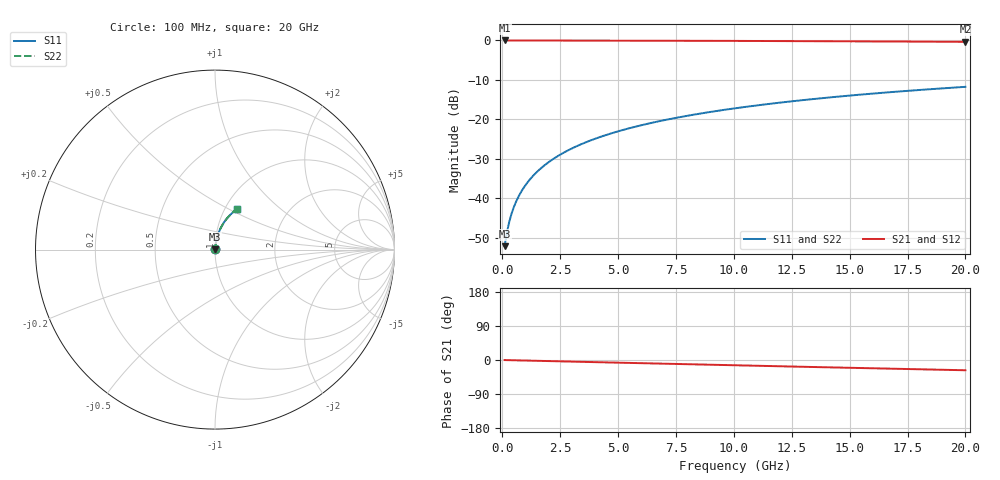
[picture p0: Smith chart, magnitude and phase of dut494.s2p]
! Touchstone file exported from HFSS 2026.1.0
!  File:  C:/ffzhzh/LocalFiles/Ansys_Project_Files/temp_train_BSMRDL_494_1783014077_55676.aedt
!  Generated:  01:42:44 AM Jul  3, 2026
!  Design:  BSMRDL
!  Project:  temp_train_BSMRDL_494_1783014077_55676
! Variables:
!  h_bsmrdl = 3.31um
!  h_ox = 20um
!  h_rdl = 5um
!  h_sub = 80um
!  h_tmrdl = 5um
!  h_tsv = 80um
!  h_via = 3um
!  l_bsmrdl = 367.16um
!  l_sub = 767.16um
!  l_tmrdl = 200um
!  m_sub = 200um
!  pitch = 48.82um
!  r_tsv = 6um
!  s_tmrdl = 10um
!  w_bsmrdl = 23.56um
!  w_sub = 500um
!  w_tmrdl = 12um
!  x_tsv_center1 = 206um
!  x_tsv_center2 = 596.72um
!  x_tsv_center3 = 808.72um
!  x_tsv_center4 = 1199.44um
!  x_tsv_center5 = 1411.44um
!  x_tsv_center6 = 1802.16um
# GHz S MA R 50.000000
! Terminal data exported
! Port[1] = BSM_RDL1_1_T1
! Port[2] = BSM_RDL1_1_T2
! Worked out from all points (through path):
!   200 points, 100 MHz to 20 GHz, reference 50 ohm
!   highest |S21| = -0.02 dB at 100 MHz (marker M1); lowest = -0.4 dB at 20 GHz (marker M2)
!   group delay of S21, straight-line fit = 3.76 ps
!   lowest |S11| = -52.2 dB at 100 MHz (marker M3), VSWR 1.00, Z = 50.2 + j0.157 ohm
!   |S11| at or under -10 dB: start of sweep to end of sweep
!   |S22| runs from -52.2 to -11.8 dB; largest |S21 - S12| = 4e-15
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0.1  0.002468 39.3  0.9981 -0.1  0.9981 -0.1  0.002468 39.3
! Gamma 0 0 0 0
! Port Impedance 50 0 50 0
0.2  0.003678 56.8  0.998 -0.3  0.998 -0.3  0.003678 56.8
0.3  0.005016 64.8  0.9979 -0.4  0.9979 -0.4  0.005016 64.8
0.4  0.006373 69.4  0.9978 -0.6  0.9978 -0.6  0.006373 69.4
0.5  0.007734 72.3  0.9977 -0.7  0.9977 -0.7  0.007734 72.3
0.6  0.0091 74.5  0.9977 -0.9  0.9977 -0.9  0.0091 74.5
0.8  0.01185 77.3  0.9976 -1.1  0.9976 -1.1  0.01185 77.3
1.1  0.01601 79.6  0.9974 -1.6  0.9974 -1.6  0.01601 79.6
1.3  0.0188 80.5  0.9973 -1.8  0.9973 -1.8  0.0188 80.5
1.6  0.023 81.4  0.9972 -2.3  0.9972 -2.3  0.023 81.4
2.1  0.03002 82.0  0.9969 -3.0  0.9969 -3.0  0.03002 82.0
2.7  0.03844 82.0  0.9965 -3.8  0.9965 -3.8  0.03844 82.0
3.5  0.04963 81.6  0.9958 -4.9  0.9958 -4.9  0.04963 81.6
4.2  0.05936 81.0  0.995 -5.9  0.995 -5.9  0.05936 81.0
5  0.07041 80.1  0.994 -7.0  0.994 -7.0  0.07041 80.1
5.9  0.08272 79.1  0.9928 -8.3  0.9928 -8.3  0.08272 79.1
6.8  0.09491 78.0  0.9914 -9.5  0.9914 -9.5  0.09491 78.0
8.3  0.1149 76.1  0.9887 -11.6  0.9887 -11.6  0.1149 76.1
10.1  0.1385 73.8  0.9851 -14.0  0.9851 -14.0  0.1385 73.8
13.4  0.1803 69.6  0.9775 -18.5  0.9775 -18.5  0.1803 69.6
16.7  0.2201 65.4  0.9686 -22.8  0.9686 -22.8  0.2201 65.4
20  0.2578 61.3  0.9588 -27.1  0.9588 -27.1  0.2578 61.3
